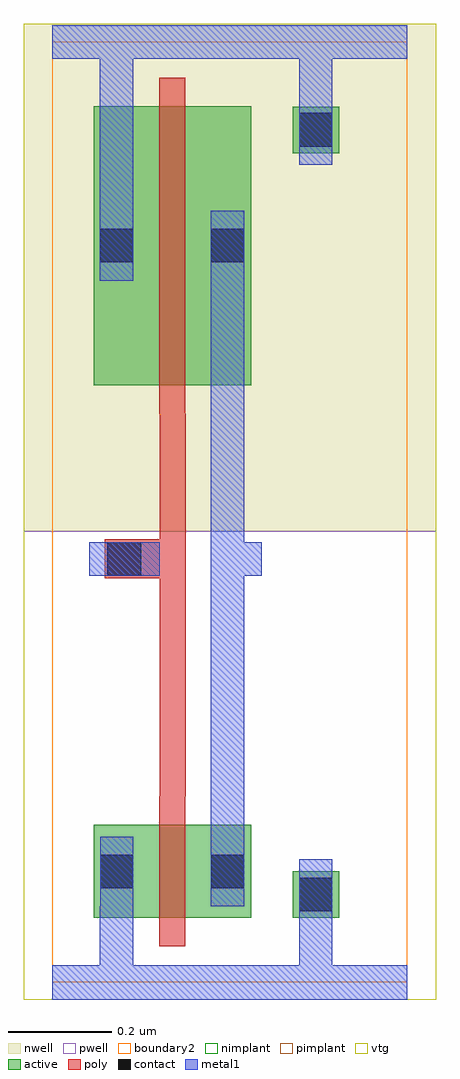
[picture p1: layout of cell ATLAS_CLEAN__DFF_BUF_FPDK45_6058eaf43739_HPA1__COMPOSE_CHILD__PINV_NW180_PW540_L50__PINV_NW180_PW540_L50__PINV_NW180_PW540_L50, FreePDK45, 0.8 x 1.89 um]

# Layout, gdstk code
import gdstk
lib = gdstk.Library(unit=1e-6, precision=1e-09)
def R(c, l, rs):  # rectangles x0, y0, x1, y1
    for r in rs: c.add(gdstk.rectangle(r[:2], r[2:], *l))
active = (1, 0)
pwell = (2, 0)
nwell = (3, 0)
nimplant = (4, 0)
pimplant = (5, 0)
vtg = (6, 0)
poly = (9, 0)
contact = (10, 0)
metal1 = (11, 0)
boundary2 = (239, 0)

atlas_clean__dff_buf_fpd = lib.new_cell('ATLAS_CLEAN__DFF_BUF_FPDK45_6058eaf43739_HPA1__COMPOSE_CHILD__PINV_NW180_PW540_L50__PINV_NW180_PW540_L50__TRANSMISSION_GATE_NW250_PW500_L50_contact_8')
R(atlas_clean__dff_buf_fpd, active, [(0,0.022,0.09,0.112)])
R(atlas_clean__dff_buf_fpd, nwell, [(-0.055,-0.033,0.145,0.168)])
R(atlas_clean__dff_buf_fpd, pimplant, [(0,0.022,0.09,0.112)])
R(atlas_clean__dff_buf_fpd, contact, [(0.013,0.035,0.077,0.1)])
R(atlas_clean__dff_buf_fpd, metal1, [(0.013,0,0.077,0.135)])
R(atlas_clean__dff_buf_fpd, boundary2, [(-0.055,-0.033,0.145,0.168)])

c_atlas_clean__dff_buf_fpd = lib.new_cell('ATLAS_CLEAN__DFF_BUF_FPDK45_6058eaf43739_HPA1__COMPOSE_CHILD__PINV_NW180_PW540_L50__PINV_NW180_PW540_L50__PINV_NW180_PW540_L50_pmos_m1_w0_540_sm1_dm1_da_p')
R(c_atlas_clean__dff_buf_fpd, active, [(0,0,0.305,0.54)])
R(c_atlas_clean__dff_buf_fpd, nwell, [(-0.08,-0.08,0.385,0.62)])
R(c_atlas_clean__dff_buf_fpd, pimplant, [(0,0,0.305,0.54)])
R(c_atlas_clean__dff_buf_fpd, vtg, [(-0.08,-0.08,0.385,0.62)])
R(c_atlas_clean__dff_buf_fpd, poly, [(0.127,-0.055,0.177,0.595), (0.127,-0.055,0.177,0.595)])
R(c_atlas_clean__dff_buf_fpd, metal1, [(0.013,0.203,0.077,0.338), (0.227,0.203,0.292,0.338)])
R(c_atlas_clean__dff_buf_fpd, boundary2, [(-0.08,-0.08,0.385,0.62)])
c_atlas_clean__dff_buf_fpd.add(gdstk.Reference(atlas_clean__dff_buf_fpd, (0,0.203)))
c_atlas_clean__dff_buf_fpd.add(gdstk.Reference(atlas_clean__dff_buf_fpd, (0.215,0.203)))

c_atlas_clean__dff_buf_fpd_ = lib.new_cell('ATLAS_CLEAN__DFF_BUF_FPDK45_6058eaf43739_HPA1__COMPOSE_CHILD__PINV_NW180_PW540_L50__PINV_NW180_PW540_L50__TRANSMISSION_GATE_NW250_PW500_L50_contact_7')
R(c_atlas_clean__dff_buf_fpd_, active, [(0,0.022,0.09,0.112)])
R(c_atlas_clean__dff_buf_fpd_, pwell, [(-0.055,-0.033,0.145,0.168)])
R(c_atlas_clean__dff_buf_fpd_, nimplant, [(0,0.022,0.09,0.112)])
R(c_atlas_clean__dff_buf_fpd_, contact, [(0.013,0.035,0.077,0.1)])
R(c_atlas_clean__dff_buf_fpd_, metal1, [(0.013,0,0.077,0.135)])
R(c_atlas_clean__dff_buf_fpd_, boundary2, [(-0.055,-0.033,0.145,0.168)])

c_atlas_clean__dff_buf_fpd__ = lib.new_cell('ATLAS_CLEAN__DFF_BUF_FPDK45_6058eaf43739_HPA1__COMPOSE_CHILD__PINV_NW180_PW540_L50__PINV_NW180_PW540_L50__PINV_NW180_PW270_L50_nmos_m1_w0_180_sm1_dm1_da_p')
R(c_atlas_clean__dff_buf_fpd__, active, [(0,0,0.305,0.18)])
R(c_atlas_clean__dff_buf_fpd__, pwell, [(-0.08,-0.08,0.385,0.26)])
R(c_atlas_clean__dff_buf_fpd__, nimplant, [(0,0,0.305,0.18)])
R(c_atlas_clean__dff_buf_fpd__, vtg, [(-0.08,-0.08,0.385,0.26)])
R(c_atlas_clean__dff_buf_fpd__, poly, [(0.127,-0.055,0.177,0.235), (0.127,-0.055,0.177,0.235)])
R(c_atlas_clean__dff_buf_fpd__, metal1, [(0.013,0.022,0.077,0.157), (0.227,0.022,0.292,0.157)])
R(c_atlas_clean__dff_buf_fpd__, boundary2, [(-0.08,-0.08,0.385,0.26)])
c_atlas_clean__dff_buf_fpd__.add(gdstk.Reference(c_atlas_clean__dff_buf_fpd_, (0,0.022)))
c_atlas_clean__dff_buf_fpd__.add(gdstk.Reference(c_atlas_clean__dff_buf_fpd_, (0.215,0.022)))

c_atlas_clean__dff_buf_fpd___ = lib.new_cell('ATLAS_CLEAN__DFF_BUF_FPDK45_6058eaf43739_HPA1__COMPOSE_CHILD__PINV_NW180_PW540_L50__PINV_NW180_PW540_L50__TRANSMISSION_GATE_NW250_PW500_L50_contact_9')
R(c_atlas_clean__dff_buf_fpd___, active, [(0,0.022,0.09,0.112)])
R(c_atlas_clean__dff_buf_fpd___, nwell, [(-0.055,-0.033,0.145,0.168)])
R(c_atlas_clean__dff_buf_fpd___, nimplant, [(0,0.022,0.09,0.112)])
R(c_atlas_clean__dff_buf_fpd___, contact, [(0.013,0.035,0.077,0.1)])
R(c_atlas_clean__dff_buf_fpd___, metal1, [(0.013,0,0.077,0.135)])
R(c_atlas_clean__dff_buf_fpd___, boundary2, [(-0.055,-0.033,0.145,0.168)])

c_atlas_clean__dff_buf_fpd____ = lib.new_cell('ATLAS_CLEAN__DFF_BUF_FPDK45_6058eaf43739_HPA1__COMPOSE_CHILD__PINV_NW180_PW540_L50__PINV_NW180_PW540_L50__TRANSMISSION_GATE_NW250_PW500_L50_contact_10')
R(c_atlas_clean__dff_buf_fpd____, active, [(0,0.022,0.09,0.112)])
R(c_atlas_clean__dff_buf_fpd____, pwell, [(-0.055,-0.033,0.145,0.168)])
R(c_atlas_clean__dff_buf_fpd____, pimplant, [(0,0.022,0.09,0.112)])
R(c_atlas_clean__dff_buf_fpd____, contact, [(0.013,0.035,0.077,0.1)])
R(c_atlas_clean__dff_buf_fpd____, metal1, [(0.013,0,0.077,0.135)])
R(c_atlas_clean__dff_buf_fpd____, boundary2, [(-0.055,-0.033,0.145,0.168)])

c_atlas_clean__dff_buf_fpd_____ = lib.new_cell('ATLAS_CLEAN__DFF_BUF_FPDK45_6058eaf43739_HPA1__COMPOSE_CHILD__PINV_NW180_PW540_L50__PINV_NW180_PW540_L50__PINV_NW180_PW270_L50_contact_11')
R(c_atlas_clean__dff_buf_fpd_____, poly, [(0.03,0,0.105,0.075)])
R(c_atlas_clean__dff_buf_fpd_____, contact, [(0.035,0.005,0.1,0.07)])
R(c_atlas_clean__dff_buf_fpd_____, metal1, [(0,0.005,0.135,0.07)])
R(c_atlas_clean__dff_buf_fpd_____, boundary2, [(0,0,0.135,0.075)])

c_atlas_clean__dff_buf_fpd______ = lib.new_cell('ATLAS_CLEAN__DFF_BUF_FPDK45_6058eaf43739_HPA1__COMPOSE_CHILD__PINV_NW180_PW540_L50__PINV_NW180_PW540_L50__PINV_NW180_PW540_L50_core')
R(c_atlas_clean__dff_buf_fpd______, pwell, [(-0.055,-0.033,0.743,0.873)])
R(c_atlas_clean__dff_buf_fpd______, nwell, [(-0.055,0.873,0.743,1.855)])
R(c_atlas_clean__dff_buf_fpd______, vtg, [(-0.055,-0.033,0.743,0.873), (-0.055,0.873,0.743,1.855)])
R(c_atlas_clean__dff_buf_fpd______, poly, [(0.208,0.36,0.258,1.1), (0.14,0.782,0.208,0.857)])
R(c_atlas_clean__dff_buf_fpd______, metal1, [(0,-0.033,0.687,0.033), (0.092,-0.033,0.157,0.147), (0.478,0,0.542,0.17), (0.307,0.147,0.372,1.492), (0.072,0.787,0.208,0.852), (0.34,0.787,0.405,0.852), (0.092,1.357,0.157,1.852), (0.478,1.65,0.542,1.82), (0,1.787,0.687,1.852)])
R(c_atlas_clean__dff_buf_fpd______, boundary2, [(0,0,0.687,1.82), (0,0,0.687,1.82)])
c_atlas_clean__dff_buf_fpd______.add(gdstk.Reference(c_atlas_clean__dff_buf_fpd, (0.08,1.155)))
c_atlas_clean__dff_buf_fpd______.add(gdstk.Reference(c_atlas_clean__dff_buf_fpd__, (0.08,0.125)))
c_atlas_clean__dff_buf_fpd______.add(gdstk.Reference(c_atlas_clean__dff_buf_fpd___, (0.465,1.582)))
c_atlas_clean__dff_buf_fpd______.add(gdstk.Reference(c_atlas_clean__dff_buf_fpd____, (0.465,0.103)))
c_atlas_clean__dff_buf_fpd______.add(gdstk.Reference(c_atlas_clean__dff_buf_fpd_____, (0.072,0.782)))

c_atlas_clean__dff_buf_fpd_______ = lib.new_cell('ATLAS_CLEAN__DFF_BUF_FPDK45_6058eaf43739_HPA1__COMPOSE_CHILD__PINV_NW180_PW540_L50__PINV_NW180_PW540_L50__PINV_NW180_PW540_L50')
R(c_atlas_clean__dff_buf_fpd_______, metal1, [(0,-0.033,0.687,0.033), (0.072,0.787,0.208,0.852), (0.34,0.787,0.405,0.852), (0,1.787,0.687,1.852)])
R(c_atlas_clean__dff_buf_fpd_______, boundary2, [(0,0,0.687,1.82)])
c_atlas_clean__dff_buf_fpd_______.add(gdstk.Reference(c_atlas_clean__dff_buf_fpd______, (0,0)))

lib.write_gds('ATLAS_CLEAN__DFF_BUF_FPDK45_6058eaf43739_HPA1__COMPOSE_CHILD__PINV_NW180_PW540_L50__PINV_NW180_PW540_L50__PINV_NW180_PW540_L50.gds')
